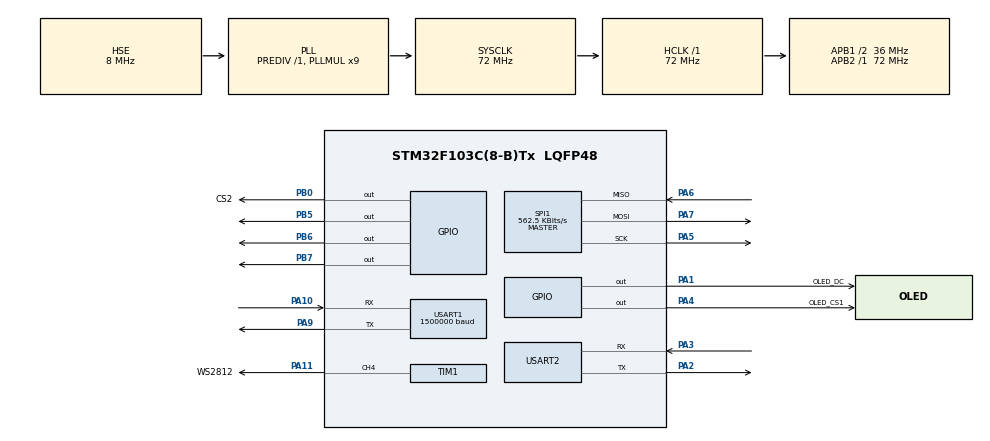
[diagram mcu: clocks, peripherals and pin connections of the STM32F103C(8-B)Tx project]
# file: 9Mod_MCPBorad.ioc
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Dma.Request0=USART2_RX
Dma.Request1=TIM1_CH4/TRIG/COM
Dma.TIM1_CH4/TRIG/COM.1.Direction=DMA_MEMORY_TO_PERIPH
Dma.TIM1_CH4/TRIG/COM.1.Instance=DMA1_Channel4
Dma.TIM1_CH4/TRIG/COM.1.MemDataAlignment=DMA_MDATAALIGN_HALFWORD
Dma.TIM1_CH4/TRIG/COM.1.MemInc=DMA_MINC_ENABLE
Dma.TIM1_CH4/TRIG/COM.1.Mode=DMA_NORMAL
Dma.TIM1_CH4/TRIG/COM.1.PeriphDataAlignment=DMA_PDATAALIGN_HALFWORD
Dma.TIM1_CH4/TRIG/COM.1.PeriphInc=DMA_PINC_DISABLE
Dma.TIM1_CH4/TRIG/COM.1.Priority=DMA_PRIORITY_LOW
Dma.USART2_RX.0.Direction=DMA_PERIPH_TO_MEMORY
Dma.USART2_RX.0.Instance=DMA1_Channel6
Dma.USART2_RX.0.MemDataAlignment=DMA_MDATAALIGN_BYTE
Dma.USART2_RX.0.MemInc=DMA_MINC_ENABLE
Dma.USART2_RX.0.Mode=DMA_NORMAL
Dma.USART2_RX.0.PeriphDataAlignment=DMA_PDATAALIGN_BYTE
Dma.USART2_RX.0.PeriphInc=DMA_PINC_DISABLE
Dma.USART2_RX.0.Priority=DMA_PRIORITY_LOW
FREERTOS.Tasks01=defaultTask,24,256,StartDefaultTask,Default,NULL,Dynamic,NULL,NULL;sht3x_read,25,256,sht3x_read_task,Default,NULL,Dynamic,NULL,NULL;ws2812_mode,26,256,ws2812_modeTask,Default,NULL,Dynamic,NULL,NULL
FREERTOS.configMINIMAL_STACK_SIZE=128
FREERTOS.configTOTAL_HEAP_SIZE=4096
Mcu.Family=STM32F1
Mcu.Name=STM32F103C(8-B)Tx
Mcu.Package=LQFP48
NVIC.DMA1_Channel4_IRQn=true\:5\:0\:false\:false\:true\:true\:false\:true\:true
NVIC.DMA1_Channel6_IRQn=true\:5\:0\:false\:false\:true\:true\:false\:true\:true
NVIC.PriorityGroup=NVIC_PRIORITYGROUP_4
NVIC.TIM4_IRQn=true\:15\:0\:false\:false\:true\:false\:false\:true\:true
NVIC.TimeBase=TIM4_IRQn
NVIC.TimeBaseIP=TIM4
PA1.GPIO_Label=OLED_DC
PA1.PinState=GPIO_PIN_SET
PA1.Signal=GPIO_Output
PA10.Mode=Asynchronous
PA10.Signal=USART1_RX
PA11.GPIO_Label=WS2812
PA11.GPIO_ModeDefaultPP=GPIO_MODE_AF_OD
PA11.GPIO_Speed=GPIO_SPEED_FREQ_HIGH
PA11.Signal=S_TIM1_CH4
PA13.Mode=Serial_Wire
PA13.Signal=SYS_JTMS-SWDIO
PA14.Mode=Serial_Wire
PA14.Signal=SYS_JTCK-SWCLK
PA2.Mode=Asynchronous
PA2.Signal=USART2_TX
PA3.Mode=Asynchronous
PA3.Signal=USART2_RX
PA4.GPIO_Label=OLED_CS1
PA4.PinState=GPIO_PIN_SET
PA4.Signal=GPIO_Output
PA5.Mode=Full_Duplex_Master
PA5.Signal=SPI1_SCK
PA6.Mode=Full_Duplex_Master
PA6.Signal=SPI1_MISO
PA7.Mode=Full_Duplex_Master
PA7.Signal=SPI1_MOSI
PA9.Mode=Asynchronous
PA9.Signal=USART1_TX
PB0.GPIO_Label=CS2
PB0.PinState=GPIO_PIN_SET
PB0.Signal=GPIO_Output
PB5.Signal=GPIO_Output
PB6.Signal=GPIO_Output
PB7.Signal=GPIO_Output
PD0-OSC_IN.Mode=HSE-External-Oscillator
PD0-OSC_IN.Signal=RCC_OSC_IN
PD1-OSC_OUT.Mode=HSE-External-Oscillator
PD1-OSC_OUT.Signal=RCC_OSC_OUT
ProjectManager.HeapSize=0x200
ProjectManager.StackSize=0x400
ProjectManager.TargetToolchain=CMake
RCC.AHBFreq_Value=72000000
RCC.APB1CLKDivider=RCC_HCLK_DIV2
RCC.APB1Freq_Value=36000000
RCC.APB1TimFreq_Value=72000000
RCC.APB2Freq_Value=72000000
RCC.APB2TimFreq_Value=72000000
RCC.HCLKFreq_Value=72000000
RCC.PLLMUL=RCC_PLL_MUL9
RCC.PLLSourceVirtual=RCC_PLLSOURCE_HSE
RCC.SYSCLKFreq_VALUE=72000000
RCC.SYSCLKSource=RCC_SYSCLKSOURCE_PLLCLK
RCC.USBFreq_Value=72000000
SH.S_TIM1_CH4.0=TIM1_CH4,PWM Generation4 CH4
SPI1.BaudRatePrescaler=SPI_BAUDRATEPRESCALER_128
SPI1.CalculateBaudRate=562.5 KBits/s
SPI1.Direction=SPI_DIRECTION_2LINES
SPI1.Mode=SPI_MODE_MASTER
SPI1.VirtualType=VM_MASTER
TIM1.Channel-PWM\ Generation4\ CH4=TIM_CHANNEL_4
TIM1.Period=90-1
USART1.BaudRate=1500000
USART1.VirtualMode=VM_ASYNC
USART2.VirtualMode=VM_ASYNC
VP_FREERTOS_VS_CMSIS_V2.Mode=CMSIS_V2
VP_SYS_VS_tim4.Mode=TIM4
board=custom

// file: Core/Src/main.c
/* USER CODE BEGIN Header */
/**
 ******************************************************************************
 * @file           : main.c
 * @brief          : Main program body
 ******************************************************************************
 * @attention
 *
 * Copyright (c) 2026 STMicroelectronics.
 * All rights reserved.
 *
 * This software is licensed under terms that can be found in the LICENSE file
 * in the root directory of this software component.
 * If no LICENSE file comes with this software, it is provided AS-IS.
 *
 ******************************************************************************
 */
/* USER CODE END Header */
#include "main.h"
#include "cmsis_os.h"
#include "dma.h"
#include "spi.h"
#include "tim.h"
#include "usart.h"
#include "gpio.h"

/* USER CODE BEGIN Includes */
#include "emMCP.h"
/* USER CODE END Includes */

/* USER CODE BEGIN PTD */
// 检查 EMCP_USER_CONFIG_FILE 是否被定义
/* USER CODE END PTD */

void SystemClock_Config(void);
void MX_FREERTOS_Init(void);

int main(void)
{

  /* MCU Configuration--------------------------------------------------------*/

  /* Reset of all peripherals, Initializes the Flash interface and the Systick. */
  HAL_Init();

  /* Configure the system clock */
  SystemClock_Config();

  /* Initialize all configured peripherals */
  MX_GPIO_Init();
  MX_DMA_Init();
  MX_USART1_UART_Init();
  MX_USART2_UART_Init();
  MX_TIM1_Init();
  MX_SPI1_Init();
  /* USER CODE BEGIN 2 */

  emMCP_log_info("system start");
  /* USER CODE END 2 */

  /* Init scheduler */
  osKernelInitialize();  /* Call init function for freertos objects (in cmsis_os2.c) */
  MX_FREERTOS_Init();

  /* Start scheduler */
  osKernelStart();

  /* We should never get here as control is now taken by the scheduler */

  /* Infinite loop */
  while (1) {

  }
}

void SystemClock_Config(void)
{
  RCC_OscInitTypeDef RCC_OscInitStruct = {0};
  RCC_ClkInitTypeDef RCC_ClkInitStruct = {0};

  /** Initializes the RCC Oscillators according to the specified parameters
  * in the RCC_OscInitTypeDef structure.
  */
  RCC_OscInitStruct.OscillatorType = RCC_OSCILLATORTYPE_HSE;
  RCC_OscInitStruct.HSEState = RCC_HSE_ON;
  RCC_OscInitStruct.HSEPredivValue = RCC_HSE_PREDIV_DIV1;
  RCC_OscInitStruct.HSIState = RCC_HSI_ON;
  RCC_OscInitStruct.PLL.PLLState = RCC_PLL_ON;
  RCC_OscInitStruct.PLL.PLLSource = RCC_PLLSOURCE_HSE;
  RCC_OscInitStruct.PLL.PLLMUL = RCC_PLL_MUL9;
  if (HAL_RCC_OscConfig(&RCC_OscInitStruct) != HAL_OK)
  {
    Error_Handler();
  }

  /** Initializes the CPU, AHB and APB buses clocks
  */
  RCC_ClkInitStruct.ClockType = RCC_CLOCKTYPE_HCLK|RCC_CLOCKTYPE_SYSCLK
                              |RCC_CLOCKTYPE_PCLK1|RCC_CLOCKTYPE_PCLK2;
  RCC_ClkInitStruct.SYSCLKSource = RCC_SYSCLKSOURCE_PLLCLK;
  RCC_ClkInitStruct.AHBCLKDivider = RCC_SYSCLK_DIV1;
  RCC_ClkInitStruct.APB1CLKDivider = RCC_HCLK_DIV2;
  RCC_ClkInitStruct.APB2CLKDivider = RCC_HCLK_DIV1;

  if (HAL_RCC_ClockConfig(&RCC_ClkInitStruct, FLASH_LATENCY_2) != HAL_OK)
  {
    Error_Handler();
  }
}

void HAL_TIM_PeriodElapsedCallback(TIM_HandleTypeDef *htim)
{
  if (htim->Instance == TIM4)
  {
    HAL_IncTick();
  }
}

void Error_Handler(void)
{
  __disable_irq();
  while (1) {
  }
}
#ifdef USE_FULL_ASSERT
/**
  * @brief  Reports the name of the source file and the source line number
  *         where the assert_param error has occurred.
  * @param  file: pointer to the source file name
  * @param  line: assert_param error line source number
  * @retval None
  */
void assert_failed(uint8_t *file, uint32_t line)
{
  /* USER CODE BEGIN 6 */
  /* User can add his own implementation to report the file name and line
     number, ex: printf("Wrong parameters value: file %s on line %d\r\n", file,
     line) */
  /* USER CODE END 6 */
}
#endif /* USE_FULL_ASSERT */

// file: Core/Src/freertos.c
/* USER CODE BEGIN Header */
/**
 ******************************************************************************
 * File Name          : freertos.c
 * Description        : Code for freertos applications
 ******************************************************************************
 * @attention
 *
 * Copyright (c) 2026 STMicroelectronics.
 * All rights reserved.
 *
 * This software is licensed under terms that can be found in the LICENSE file
 * in the root directory of this software component.
 * If no LICENSE file comes with this software, it is provided AS-IS.
 *
 ******************************************************************************
 */
/* USER CODE END Header */

#include "FreeRTOS.h"
#include "cJSON.h"
#include "cmsis_os.h"
#include "log.h"
#include "main.h"
#include "stm32f10x_bsp_i2c.h"
#include "task.h"

/* USER CODE BEGIN Includes */
#include "axk_ch224.h"
#include "axk_sht3x.h"
#include "axk_ssd1306.h"
#include "axk_ws2812.h"
#include "emMCP.h"
#include "relay.h"
#include "uartPort.h"
#include "usart.h"
#include <stdint.h>
#include <time.h>

/* USER CODE END Includes */

/* USER CODE BEGIN PD */
#define RXBUFFSER_MAX_SIZE 256
/* USER CODE END PD */

/* Definitions for defaultTask */
osThreadId_t defaultTaskHandle;
const osThreadAttr_t defaultTask_attributes = {
    .name = "defaultTask",
    .stack_size = 256 * 4,
    .priority = (osPriority_t)osPriorityNormal,
};
/* Definitions for sht3x_read */
osThreadId_t sht3x_readHandle;
const osThreadAttr_t sht3x_read_attributes = {
    .name = "sht3x_read",
    .stack_size = 256 * 4,
    .priority = (osPriority_t)osPriorityNormal1,
};
/* Definitions for ws2812_mode */
osThreadId_t ws2812_modeHandle;
const osThreadAttr_t ws2812_mode_attributes = {
    .name = "ws2812_mode",
    .stack_size = 256 * 4,
    .priority = (osPriority_t)osPriorityNormal2,
};

/* USER CODE BEGIN FunctionPrototypes */
static uint8_t rxBuffer[RXBUFFSER_MAX_SIZE] = {0};
static emMCP_t emMCP;
axk_ws2812_strip_t ws2812 = {.led_count = WS2812_MAX_NUM};
color_t RED = {0xff, 0x00, 0x00};
color_t GREEN = {0x00, 0xff, 0x00};
color_t BLUE = {0x00, 0x00, 0xff};
bool sht30_is_init = false;
bool ch224_is_init = false;
double temperature = 0.0;
double humidity = 0.0;
static void smoothcolorTransition_callbark(color_t color, void *arg);
static void relay_tool_callbark(void* arg);
static void sht3x_tool_callbark(void* arg);
/* USER CODE END FunctionPrototypes */

void StartDefaultTask(void *argument);
void sht3x_read_task(void *argument);
void ws2812_modeTask(void *argument);

void MX_FREERTOS_Init(void); /* (MISRA C 2004 rule 8.1) */

void MX_FREERTOS_Init(void) {

  /* Create the thread(s) */
  /* creation of defaultTask */
  defaultTaskHandle =
      osThreadNew(StartDefaultTask, NULL, &defaultTask_attributes);

  /* creation of sht3x_read */
  sht3x_readHandle = osThreadNew(sht3x_read_task, NULL, &sht3x_read_attributes);

  /* creation of ws2812_mode */
  ws2812_modeHandle =
      osThreadNew(ws2812_modeTask, NULL, &ws2812_mode_attributes);

}

void StartDefaultTask(void *argument) {
  /* USER CODE BEGIN StartDefaultTask */
  /* Infinite loop */
  HAL_UARTEx_ReceiveToIdle_DMA(&huart2, (uint8_t *)rxBuffer, sizeof(rxBuffer));
  __HAL_DMA_DISABLE_IT(huart2.hdmarx, DMA_IT_HT);
  emMCP_Init(&emMCP);

  static emMCP_tool_t relay_tool={
    .name = "self.relay",
    .description="Relay status control and query tool",
    .inputSchema.properties[0].name = "relay.enable",
    .inputSchema.properties[0].description = "Relay switch, true is on, false is off",
    .inputSchema.properties[0].type = MCP_SERVER_TOOL_TYPE_BOOLEAN,
    .inputSchema.properties[1].name= "relay.status",
    .inputSchema.properties[1].description = "Relay status, check relay status,null is check",
    .inputSchema.properties[1].type = MCP_SERVER_TOOL_TYPE_BOOLEAN,
    .checkRequestHandler=relay_tool_callbark,
    .setRequestHandler=relay_tool_callbark,
  };
  static emMCP_tool_t sht3x_tool = {
    .name = "self.sht3x",
    .description = "SHT3X temperature and humidity sensor tool",
    .inputSchema.properties[0].name = "sht3x.temprature",
    .inputSchema.properties[0].description =
        "Read SHT3X temperature,null is read,accuracy of 0.1",
    .inputSchema.properties[0].type = MCP_SERVER_TOOL_TYPE_NUMBER,
    .inputSchema.properties[1].name = "sht3x.humidity",
    .inputSchema.properties[1].description =
        "Read SHT3X humidity,null is read",
    .inputSchema.properties[1].type = MCP_SERVER_TOOL_TYPE_NUMBER,
    .checkRequestHandler=sht3x_tool_callbark,
    .setRequestHandler=sht3x_tool_callbark,
  };
  emMCP_AddToolToToolList(&relay_tool);
  emMCP_AddToolToToolList(&sht3x_tool);

  emMCP_RegistrationTools();

  for (;;) {
    // osDelay();
    emMCP_TickHandle(10);
  }
  /* USER CODE END StartDefaultTask */
}
void sht3x_read_task(void *argument) {
  /* USER CODE BEGIN sht3x_read_task */
  /* Infinite loop */

  uint8_t res = axk_sht3x_init();
  if (res != 0) {
    log_error("sht3x not driver");
    sht30_is_init = false;
  } else {
    sht30_is_init = true;
    log_info("sht3x init OK!");
  }

  res = axk_ch224_init();
  if (res != 0) {
    log_error("ch224 not driver");
    ch224_is_init = false;
  } else {
    ch224_is_init = true;
    log_info("ch224 init OK!");
      int ch224_status = axk_ch224_get_status(AXK_CH224_REG_STATUS);

    if (ch224_status < 0) {
      log_error("ch224 status error: %d", ch224_status);
    } else
      log_info("ch224 status: 0x%02X", ch224_status);

    // // 设置CH224输出电压为5V
    // ch224_status = axk_ch224_set_vout(AXK_CH224_VOUT_AVS);
    ch224_status = axk_ch224_set_pps_vout(12.2);
    if (ch224_status < 0) {
      log_error("ch224 set avs vout error: %d", ch224_status);
    } else
      log_info("ch224 set avs vout OK!");
    ch224_status = axk_ch224_set_mode(AXK_CH224_VOUT_PPS);
    if (ch224_status < 0) {
      log_error("ch224 set mode error: %d", ch224_status);
    } else {
      log_info("ch224 set mode OK!");
    }
  }
  axk_relay_init();

  // 初始化WS2812灯条

  for (;;) {

    osDelay(pdMS_TO_TICKS(1000));
    // axk_relay_toggle();
    if (!sht30_is_init) {
      continue;
    }
    res = axk_sht3x_read(0x2c06, &temperature, &humidity);
    if (res != 0) {
      log_error("sht3x read error: %d", res);
      continue;
    }
    log_info("sht30: %0.2d C,%0.2d %%", (uint8_t)temperature,
             (uint8_t)humidity);
  }
  /* USER CODE END sht3x_read_task */
}
void ws2812_modeTask(void *argument) {
  /* USER CODE BEGIN ws2812_modeTask */
  /* Infinite loop */
  delay_ms(50);
  axk_ssd1306_init();
  axk_ssd1306_set_color_turn(0);
  axk_ssd1306_set_display_turn(0);
  axk_ssd1306_clear_screen();
  axk_ssd1306_clear_screen();
  axk_ssd1306_show_utf8_str(32, 0, "欢迎使用");
  axk_ssd1306_show_utf8_str(24, 3, "九章开发板");
  axk_ws2812_init(&ws2812);
  for (;;) {
    smoothcolorTransition(RED, BLUE, 500, smoothcolorTransition_callbark, NULL);
    smoothcolorTransition(BLUE, RED, 500, smoothcolorTransition_callbark, NULL);
    // osDelay(1);
  }
  /* USER CODE END ws2812_modeTask */
}

/* USER CODE BEGIN Application */
void HAL_UARTEx_RxEventCallback(UART_HandleTypeDef *huart, uint16_t Size) {
  if (huart == &huart2) {
    // 确保接收到的数据以 null 结尾，防止 strlen 越界
    if (Size < RXBUFFSER_MAX_SIZE) {
      rxBuffer[Size] = '\0';
    } else {
      rxBuffer[RXBUFFSER_MAX_SIZE - 1] = '\0';
    }

    uartPortRecvData((char *)rxBuffer, Size);

    // 重新启动 DMA 接收
    HAL_UARTEx_ReceiveToIdle_DMA(&huart2, rxBuffer, RXBUFFSER_MAX_SIZE);
    __HAL_DMA_DISABLE_IT(huart2.hdmarx, DMA_IT_HT);
  }
}

static void smoothcolorTransition_callbark(color_t color, void *arg) {
  axk_ws2812_set_all_pixels_color(color.r, color.g, color.b,
                                  axk_ws2812_strip_dev->brightness);
  vTaskDelay(pdMS_TO_TICKS(5));
}

static void relay_tool_callbark(void* arg)
{

  if(arg==NULL) {
    log_error("relay_tool_callbark arg is null");
    return;
  }
  cJSON* param=(cJSON*)arg;
  cJSON* relay_enable=cJSON_GetObjectItemCaseSensitive(param,"relay.enable");
  cJSON* relay_status=cJSON_GetObjectItemCaseSensitive(param,"relay.status");

  if(relay_enable!=NULL){
    log_info("relay_enable: %s", relay_enable->valueint? "true":"false");
    axk_relay_set(relay_enable->valueint);
    emMCP_ResponseValue(relay_enable->valueint?"{\"relay.enable\":true}":"{\"relay.enable\":false}");
  }

  if(relay_status!=NULL){
    emMCP_ResponseValue( axk_relay_get()?"{\"relay.status\":true}":"{\"relay.status\":false}");
  }
}

static void sht3x_tool_callbark(void* arg) {
  if(arg==NULL){
    log_error("sht3x_tool_callbark arg is null");
    return;
  }
  cJSON* param=(cJSON*)arg;
  log_debug("sht3x_tool_callbark ");
  cJSON* temprature_item=cJSON_GetObjectItemCaseSensitive(param,"sht3x.temprature");
  cJSON* humidity_item=cJSON_GetObjectItemCaseSensitive(param,"sht3x.humidity");
  if(temprature_item!=NULL||humidity_item!=NULL){
    if(sht30_is_init){
      char response[64];
      snprintf(response, sizeof(response),
               "{\"temperature\":%.1f,\"humidity\":%.1f}",temperature, humidity);
      log_info("sht3x_tool_callbark response: %s", response);
      emMCP_ResponseValue(response);
    }

  }
  else {
    log_error("sht3x_tool_callbark read is null");
  }
}

/* USER CODE END Application */
